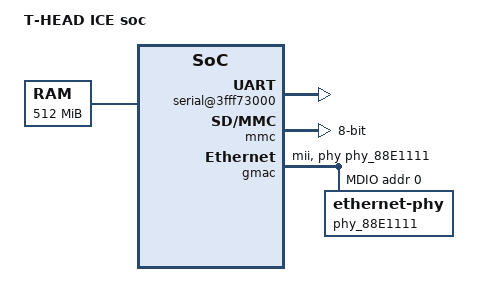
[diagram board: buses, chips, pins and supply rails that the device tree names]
/dts-v1/;
/ {
    model = "T-HEAD ICE soc";
    compatible = "thead,ice_c910";
    #address-cells = <2>;
    #size-cells = <2>;

    memory@0 {
        device_type = "memory";
        reg = <0x0 0x40000000 0x0 0x20000000>;
    };

    cpus {
        #address-cells = <1>;
        #size-cells = <0>;
        timebase-frequency = <6250000>;  /* 1/8 of dummy_apb */
        cpu@0 {
            device_type = "cpu";
            reg = <0>;
            status = "okay";
            compatible = "riscv";
            riscv,isa = "rv64imafdcsu";
            mmu-type = "riscv,sv39";
            cpu0_intc: interrupt-controller {
                #interrupt-cells = <1>;
                compatible = "riscv,cpu-intc";
                interrupt-controller;
            };
        };
        cpu@1 {
            device_type = "cpu";
            reg = <1>;
            status = "fail";
            compatible = "riscv";
            riscv,isa = "rv64imafdcsu";
            mmu-type = "riscv,sv39";
            cpu1_intc: interrupt-controller {
                #interrupt-cells = <1>;
                compatible = "riscv,cpu-intc";
                interrupt-controller;
            };
        };
        cpu@2 {
            device_type = "cpu";
            reg = <2>;
            status = "fail";
            compatible = "riscv";
            riscv,isa = "rv64imafdcsu";
            mmu-type = "riscv,sv39";
            cpu2_intc: interrupt-controller {
                #interrupt-cells = <1>;
                compatible = "riscv,cpu-intc";
                interrupt-controller;
            };
        };
    };

    soc {
        #address-cells = <2>;
        #size-cells = <2>;
        compatible = "simple-bus";
        ranges;

        intc: interrupt-controller@3f0000000 {
            #interrupt-cells = <1>;
            compatible = "riscv,plic0";
            interrupt-controller;
            interrupts-extended = <
                &cpu0_intc  0xffffffff &cpu0_intc  9
                &cpu1_intc  0xffffffff &cpu1_intc  9
                &cpu2_intc  0xffffffff &cpu2_intc  9
                >;
            reg = <0x3 0xf0000000 0x0 0x04000000>;
            reg-names = "control";
            riscv,max-priority = <7>;
            riscv,ndev = <80>;
        };

        dummy_apb: apb-clock {
            compatible = "fixed-clock";
            clock-frequency = <50000000>;
            clock-output-names = "dummy_apb";
            #clock-cells = <0>;
        };

        serial@3fff73000 {
            compatible = "snps,dw-apb-uart";
            reg = <0x3 0xfff73000 0x0 0x400>;
            interrupt-parent = <&intc>;
            interrupts = <23>;
            clocks = <&dummy_apb>;
            clock-frequency = <50000000>;
            clock-names = "baudclk";
            reg-shift = <2>;
            reg-io-width = <4>;
        };

        pmu: pmu {
            compatible = "riscv,c910_pmu";
        };

        mmc: mmc0@3fffb0000 {
            compatible = "snps,dw-mshc";
            reg = <0x3 0xfffb0000 0x0 0x400>;
            bus-width = <8>;
            fifo-depth = <256>;
            clocks = <&dummy_apb>, <&dummy_apb>;
            clock-names = "biu", "ciu";
            max-frequency = <25000000>;
        };

        gmac: ethernet@3fffc0000 {
            compatible = "snps,arc-dwmac-3.70a";
            reg = <0x3 0xfffc0000 0x0 0x2000>;
            interrupt-parent = <&intc>;
            interrupts = <40>;
            interrupt-names = "macirq";
            clocks = <&dummy_apb>;
            clock-names = "stmmaceth";
            snps,pbl = <32>;
            snps,fixed-burst;

            phy-mode = "mii";
            phy-handle = <&phy_88E1111>;
            max-speed = <100>;
            mdio0 {
                #address-cells = <1>;
                #size-cells = <0>;
                compatible = "snps,dwmac-mdio";

                phy_88E1111: ethernet-phy@0 {
                    reg = <0x0 0x0>;
                };
            };
        };
    };

    chosen {
        bootargs = "console=ttyS0,115200";
        linux,initrd-start = <0x1000000>;
        linux,initrd-end = <0x17000000>;
        stdout-path = "/soc/serial@3fff73000:115200";
    };
};
